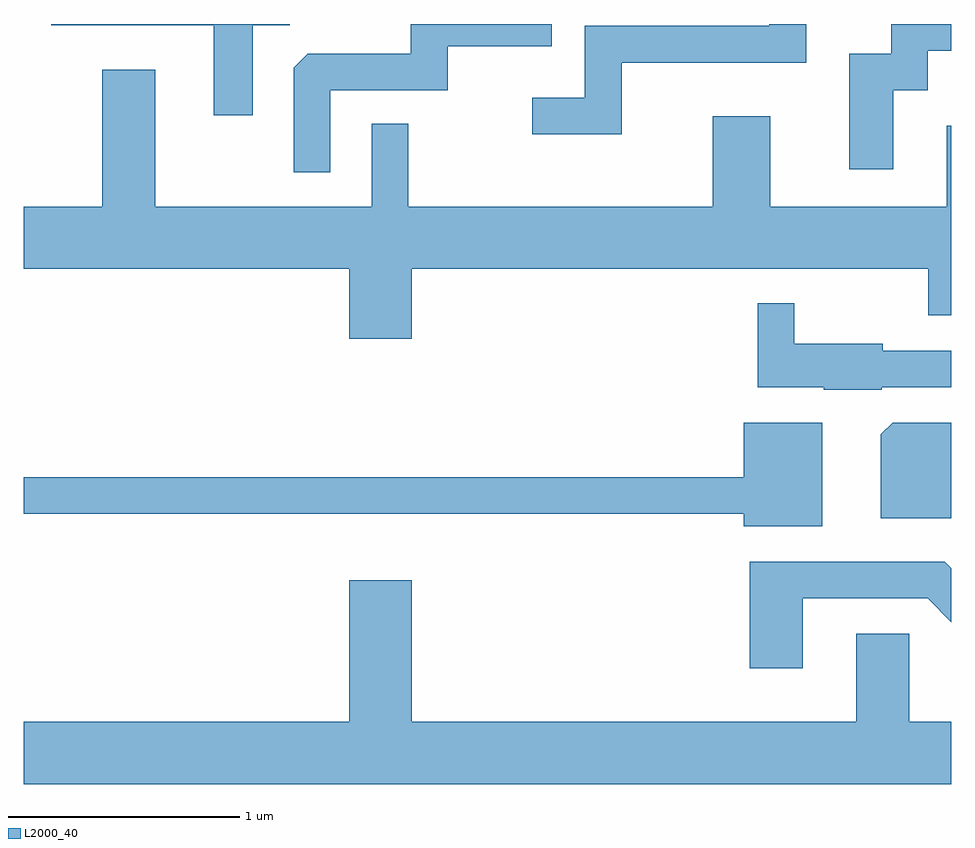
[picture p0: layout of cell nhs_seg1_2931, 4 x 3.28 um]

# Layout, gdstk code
import gdstk
lib = gdstk.Library(unit=1e-6, precision=1e-09)
def P(c, l, *ps):  # polygons
    for p in ps: c.add(gdstk.Polygon(p, *l))
L2000_40 = (2000, 40)

nhs_seg1_2931 = lib.new_cell('nhs_seg1_2931')
P(nhs_seg1_2931, L2000_40, [(276.189,931.546),(276.984,931.546),(276.984,931.712),(276.826,931.712),(276.826,931.704),(276.031,931.704),(276.031,931.394),(275.803,931.394),(275.803,931.236),(276.189,931.236)],
  [(274.599,931.706),(274.759,931.706),(274.759,931.712),(273.731,931.712),(273.731,931.706),(274.431,931.706),(274.431,931.318),(274.599,931.318)],
  [(277.359,931.426),(277.509,931.426),(277.509,931.596),(277.611,931.596),(277.611,931.712),(277.351,931.712),(277.351,931.584),(277.171,931.584),(277.171,931.086),(277.359,931.086)],
  [(274.934,931.426),(275.439,931.426),(275.439,931.616),(275.888,931.616),(275.888,931.712),(275.281,931.712),(275.281,931.584),(274.837,931.584),(274.776,931.524),(274.776,931.073),(274.934,931.073)],
  [(275.284,930.656),(277.511,930.656),(277.511,930.456),(277.611,930.456),(277.611,931.274),(277.591,931.274),(277.591,930.924),(276.829,930.924),(276.829,931.314),(276.581,931.314),(276.581,930.924),(275.269,930.924),(275.269,931.283),(275.111,931.283),(275.111,930.924),(274.179,930.924),(274.179,931.514),(273.951,931.514),(273.951,930.924),(273.611,930.924),(273.611,930.656),(275.016,930.656),(275.016,930.356),(275.284,930.356)],
  [(277.31,930.146),(277.611,930.146),(277.611,930.304),(277.314,930.304),(277.314,930.334),(276.934,930.334),(276.934,930.508),(276.776,930.508),(276.776,930.146),(277.06,930.146),(277.06,930.136),(277.31,930.136)],
  [(277.054,929.994),(276.716,929.994),(276.716,929.759),(273.611,929.759),(273.611,929.601),(276.716,929.601),(276.716,929.546),(277.054,929.546)],
  [(277.611,929.994),(277.357,929.994),(277.306,929.944),(277.306,929.581),(277.611,929.581)],
  [(276.969,929.236),(277.509,929.236),(277.611,929.134),(277.611,929.365),(277.582,929.394),(276.741,929.394),(276.741,928.936),(276.969,928.936)],
  [(277.611,928.704),(277.429,928.704),(277.429,929.084),(277.201,929.084),(277.201,928.704),(275.284,928.704),(275.284,929.314),(275.016,929.314),(275.016,928.704),(273.611,928.704),(273.611,928.436),(277.611,928.436)])

lib.write_gds('nhs_seg1_2931.gds')
